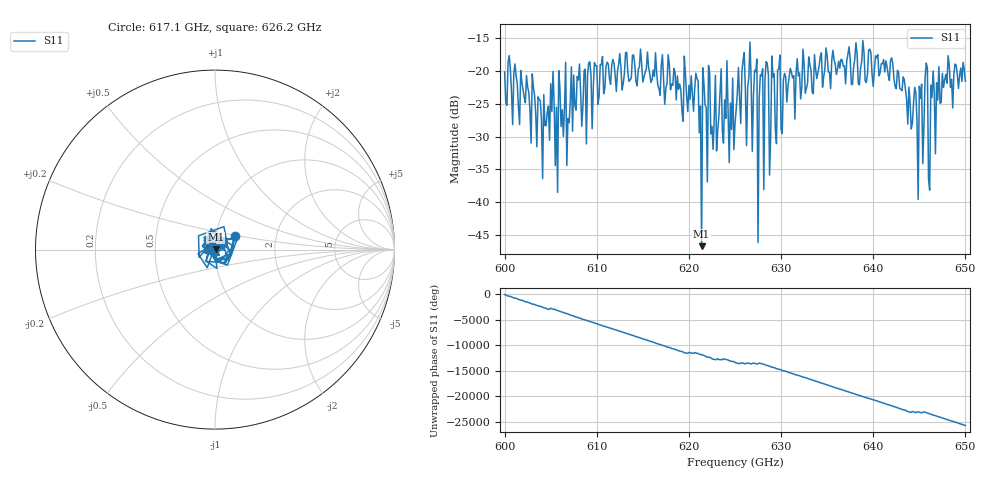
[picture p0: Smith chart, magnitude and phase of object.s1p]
!Created with skrf (http://scikit-rf.org).
# GHz S MA R 50.0
!freq magS11 angS11
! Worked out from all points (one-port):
!   401 points, 600 GHz to 650 GHz, reference 50 ohm
!   lowest |S11| = -46.7 dB at 621.4 GHz (marker M1), VSWR 1.01, Z = 50.4 + j0.278 ohm
!   |S11| at or under -10 dB: start of sweep to end of sweep
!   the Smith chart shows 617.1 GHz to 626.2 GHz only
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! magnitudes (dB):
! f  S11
! 600 GHz  -20.2
! 602.4 GHz  -20.7
! 604.2 GHz  -23.6
! 605 GHz  -22.0
! 605.5 GHz  -34.4
! 606.2 GHz  -25.9
! 608 GHz  -21.4
! 612.5 GHz  -17.4
! 618.8 GHz  -20.8
! 620.8 GHz  -20.4
! 621 GHz  -21.6
! 621.1 GHz  -29.4
! 621.4 GHz  -46.7
! 622 GHz  -36.9
! 622.9 GHz  -20.7
! 625 GHz  -28.1
! 625.9 GHz  -18.4
! 627.8 GHz  -20.6
! 631.2 GHz  -21.1
! 637.5 GHz  -18.2
! 641.9 GHz  -18.4
! 643.8 GHz  -28.1
! 645.1 GHz  -24.2
! 645.6 GHz  -21.2
! 646.2 GHz  -22.2
! 646.5 GHz  -20.0
! 648 GHz  -21.9
! 650 GHz  -21.6
